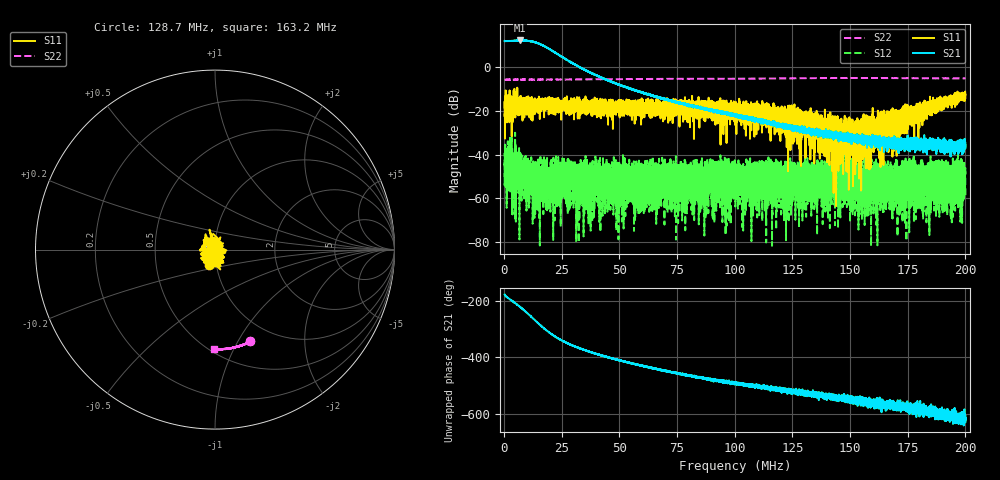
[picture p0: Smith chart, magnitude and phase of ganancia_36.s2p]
# Hz S DB R 50
! CMT, M5065, 19127446, 24.2.4/2
! Date: 11/8/2024 4:05:49 PM
! Data: Format (Calibration Info)
! Freq	S11:dB/Ang(F2)	S21:dB/Ang(F2)	S12:dB/Ang(F2)	S22:dB/Ang(F2)
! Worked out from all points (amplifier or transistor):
!   9000 points, 300 kHz to 200 MHz, reference 50 ohm
!   highest |S21| = 12.0 dB at 6.913 MHz (marker M1)
!   |S21| within 3 dB of that: start of sweep to 18.21 MHz
!   unconditionally stable (mu >= 1): start of sweep to end of sweep
!   at 33.59 MHz: K = 109.54, MAG = 0.9 dB, |S12| = -49.1 dB
!   at 100.2 MHz: K = 1386.72, MAG = -20.5 dB, |S12| = -49.9 dB
!   at 200 MHz: K = 15487.06, MAG = -33.0 dB, |S12| = -58.5 dB
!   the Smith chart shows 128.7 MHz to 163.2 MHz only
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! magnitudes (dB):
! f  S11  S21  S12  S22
! 300 kHz  -21.7  11.8  -43.7  -5.8
! 1.498 MHz  -18.1  11.8  -50.3  -5.8
! 6.913 MHz  -16.6  12.0  -44.3  -5.8
! 18.65 MHz  -14.7  8.8  -47.8  -5.8
! 33.59 MHz  -16.8  -0.6  -49.1  -5.7
! 51.41 MHz  -18.3  -8.7  -57.8  -5.6
! 57.49 MHz  -19.8  -10.8  -54.3  -5.6
! 66.87 MHz  -20.6  -13.7  -57.9  -5.5
! 100.2 MHz  -18.4  -22.0  -49.9  -5.4
! 133.4 MHz  -21.7  -29.8  -48.7  -5.2
! 143.6 MHz  -31.9  -32.2  -47.0  -5.1
! 146.6 MHz  -26.1  -30.5  -46.4  -5.1
! 152.1 MHz  -30.0  -32.3  -43.0  -5.1
! 156.7 MHz  -32.6  -34.0  -47.1  -5.1
! 158.3 MHz  -27.1  -31.6  -47.2  -5.1
! 166.7 MHz  -28.3  -33.5  -61.3  -5.1
! 177.3 MHz  -19.4  -34.0  -50.0  -5.2
! 183.6 MHz  -19.7  -35.5  -52.6  -5.2
! 190.3 MHz  -17.2  -35.6  -60.2  -5.3
! 194.2 MHz  -13.9  -36.0  -51.1  -5.3
! 197.5 MHz  -14.7  -37.3  -48.0  -5.3
! 200 MHz  -14.1  -34.7  -58.5  -5.3
